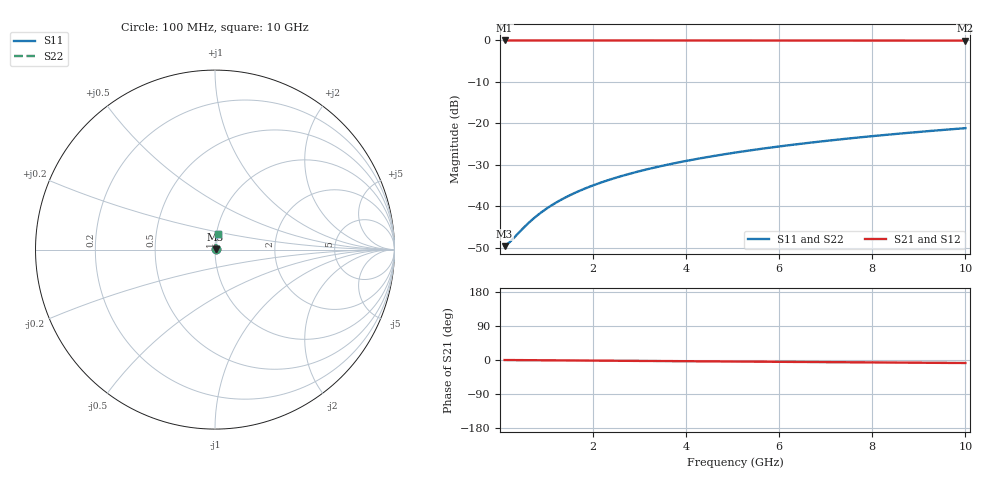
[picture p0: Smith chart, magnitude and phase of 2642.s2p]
# Hz S RI R 50.00
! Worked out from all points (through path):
!   100 points, 100 MHz to 10 GHz, reference 50 ohm
!   highest |S21| = -0.03 dB at 100 MHz (marker M1); lowest = -0.1 dB at 10 GHz (marker M2)
!   group delay of S21, straight-line fit = 2.21 ps
!   lowest |S11| = -49.7 dB at 100 MHz (marker M3), VSWR 1.01, Z = 50.3 + j0.0875 ohm
!   |S11| at or under -10 dB: start of sweep to end of sweep
!   |S22| runs from -49.7 to -21.2 dB; largest |S21 - S12| = 0
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1e8  0.00317 0.00087  0.9968 -0.00138  0.9968 -0.00138  0.00317 0.00087
2e8  0.0032 0.00174  0.9968 -0.00277  0.9968 -0.00277  0.0032 0.00174
5e8  0.00326 0.00435  0.9967 -0.00692  0.9967 -0.00692  0.00326 0.00435
6e8  0.00328 0.00522  0.9967 -0.0083  0.9967 -0.0083  0.00328 0.00522
7e8  0.00331 0.00609  0.9967 -0.00969  0.9967 -0.00969  0.00331 0.00609
9e8  0.00336 0.00782  0.9966 -0.0125  0.9966 -0.0125  0.00336 0.00782
1.1e9  0.00342 0.00956  0.9966 -0.0152  0.9966 -0.0152  0.00342 0.00956
1.3e9  0.00349 0.0113  0.9965 -0.018  0.9965 -0.018  0.00349 0.0113
1.5e9  0.00357 0.013  0.9964 -0.0208  0.9964 -0.0208  0.00357 0.013
1.8e9  0.0037 0.0156  0.9962 -0.0249  0.9962 -0.0249  0.0037 0.0156
2.1e9  0.00386 0.0182  0.9961 -0.029  0.9961 -0.029  0.00386 0.0182
2.5e9  0.00409 0.0217  0.9958 -0.0346  0.9958 -0.0346  0.00409 0.0217
2.9e9  0.00437 0.0252  0.9955 -0.0401  0.9955 -0.0401  0.00437 0.0252
3.4e9  0.00476 0.0295  0.9951 -0.047  0.9951 -0.047  0.00476 0.0295
3.8e9  0.00512 0.033  0.9947 -0.0525  0.9947 -0.0525  0.00512 0.033
4.2e9  0.00552 0.0364  0.9942 -0.0581  0.9942 -0.0581  0.00552 0.0364
5.1e9  0.00656 0.0442  0.9931 -0.0705  0.9931 -0.0705  0.00656 0.0442
5.9e9  0.00764 0.0511  0.9919 -0.0815  0.9919 -0.0815  0.00764 0.0511
6.7e9  0.00887 0.0579  0.9905 -0.0924  0.9905 -0.0924  0.00887 0.0579
7.5e9  0.0103 0.0647  0.989 -0.1034  0.989 -0.1034  0.0103 0.0647
8.4e9  0.012 0.0724  0.987 -0.1157  0.987 -0.1157  0.012 0.0724
1e10  0.0156 0.0858  0.9831 -0.1375  0.9831 -0.1375  0.0156 0.0858
